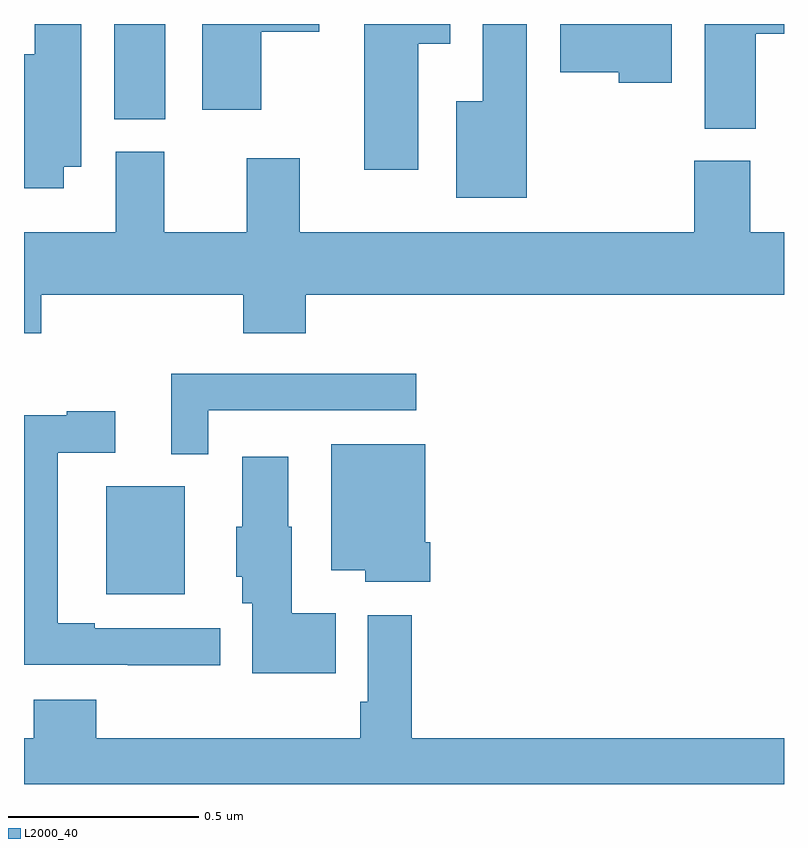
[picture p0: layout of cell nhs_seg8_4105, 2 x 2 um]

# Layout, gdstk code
import gdstk
lib = gdstk.Library(unit=1e-6, precision=1e-09)
def R(c, l, rs):  # rectangles x0, y0, x1, y1
    for r in rs: c.add(gdstk.rectangle(r[:2], r[2:], *l))
def P(c, l, *ps):  # polygons
    for p in ps: c.add(gdstk.Polygon(p, *l))
L2000_40 = (2000, 40)

nhs_seg8_4105 = lib.new_cell('nhs_seg8_4105')
R(nhs_seg8_4105, L2000_40, [(166.217,1094.399,166.423,1094.683), (166.238,1095.649,166.372,1095.9)])
P(nhs_seg8_4105, L2000_40, [(166.624,1095.879),(166.777,1095.879),(166.777,1095.9),(166.469,1095.9),(166.469,1095.675),(166.624,1095.675)],
  [(167.704,1095.9),(167.411,1095.9),(167.411,1095.773),(167.565,1095.773),(167.565,1095.746),(167.704,1095.746)],
  [(167.323,1095.9),(167.207,1095.9),(167.207,1095.697),(167.138,1095.697),(167.138,1095.443),(167.323,1095.443)],
  [(167.926,1095.875),(168,1095.875),(168,1095.9),(167.792,1095.9),(167.792,1095.625),(167.926,1095.625)],
  [(166.105,1095.524),(166.15,1095.524),(166.15,1095.9),(166.028,1095.9),(166.028,1095.82),(166,1095.82),(166,1095.468),(166.105,1095.468)],
  [(167.038,1095.848),(167.122,1095.848),(167.122,1095.9),(166.895,1095.9),(166.895,1095.516),(167.038,1095.516)],
  [(166.046,1095.188),(166.577,1095.188),(166.577,1095.086),(166.742,1095.086),(166.742,1095.188),(168,1095.188),(168,1095.352),(167.911,1095.352),(167.911,1095.54),(167.764,1095.54),(167.764,1095.352),(166.726,1095.352),(166.726,1095.547),(166.586,1095.547),(166.586,1095.352),(166.369,1095.352),(166.369,1095.564),(166.241,1095.564),(166.241,1095.352),(166,1095.352),(166,1095.086),(166.046,1095.086)],
  [(166.485,1094.883),(167.032,1094.883),(167.032,1094.979),(166.388,1094.979),(166.388,1094.768),(166.485,1094.768)],
  [(166.516,1094.31),(166.186,1094.31),(166.186,1094.323),(166.089,1094.323),(166.089,1094.772),(166.24,1094.772),(166.24,1094.881),(166.112,1094.881),(166.112,1094.87),(166,1094.87),(166,1094.214),(166.273,1094.214),(166.273,1094.213),(166.516,1094.213)],
  [(167.069,1094.536),(167.056,1094.536),(167.056,1094.794),(166.808,1094.794),(166.808,1094.462),(166.898,1094.462),(166.898,1094.432),(167.069,1094.432)],
  [(166.82,1094.35),(166.705,1094.35),(166.705,1094.577),(166.696,1094.577),(166.696,1094.761),(166.574,1094.761),(166.574,1094.577),(166.559,1094.577),(166.559,1094.445),(166.574,1094.445),(166.574,1094.376),(166.601,1094.376),(166.601,1094.192),(166.82,1094.192)],
  [(168,1094.02),(167.021,1094.02),(167.021,1094.344),(166.905,1094.344),(166.905,1094.116),(166.885,1094.116),(166.885,1094.02),(166.19,1094.02),(166.19,1094.122),(166.025,1094.122),(166.025,1094.02),(166,1094.02),(166,1093.9),(168,1093.9)])

lib.write_gds('nhs_seg8_4105.gds')
